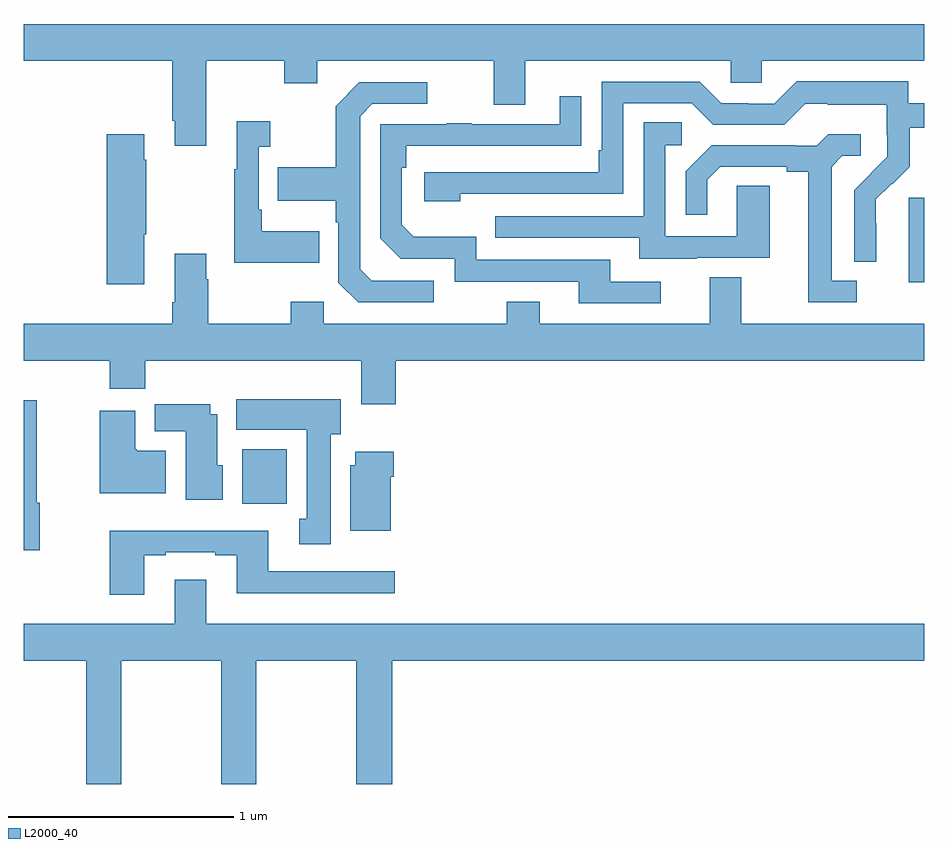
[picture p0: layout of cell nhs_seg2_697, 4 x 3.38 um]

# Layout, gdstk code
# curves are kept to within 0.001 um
import gdstk
lib = gdstk.Library(unit=1e-6, precision=1e-09)
def R(c, l, rs):  # rectangles x0, y0, x1, y1
    for r in rs: c.add(gdstk.rectangle(r[:2], r[2:], *l))
def P(c, l, *ps):  # polygons
    for p in ps: c.add(gdstk.Polygon(p, *l))
L2000_40 = (2000, 40)

nhs_seg2_697 = lib.new_cell('nhs_seg2_697')
R(nhs_seg2_697, L2000_40, [(147.971,603.044,148.168,603.286), (150.932,604.028,151,604.405)])
P(nhs_seg2_697, L2000_40, [(147.811,605.012),(148.156,605.012),(148.156,604.913),(148.303,604.913),(148.303,605.012),(149.087,605.012),(149.087,604.818),(149.227,604.818),(149.227,605.012),(150.141,605.012),(150.141,604.914),(150.279,604.914),(150.279,605.012),(151,605.012),(151,605.176),(147,605.176),(147,605.012),(147.659,605.012),(147.659,604.747),(147.671,604.747),(147.671,604.635),(147.811,604.635)],
  [(150.787,604.292),(150.785,604.292),(150.785,604.397),(150.855,604.467),(150.858,604.464),(150.935,604.541),(150.935,604.716),(151,604.716),(151,604.824),(150.93,604.824),(150.93,604.921),(150.433,604.921),(150.333,604.821),(150.218,604.821),(150.218,604.824),(150.099,604.824),(150.003,604.92),(149.568,604.92),(149.568,604.615),(149.555,604.615),(149.555,604.518),(148.779,604.518),(148.779,604.388),(148.94,604.388),(148.94,604.422),(149.664,604.422),(149.664,604.824),(149.967,604.824),(150.063,604.728),(150.378,604.728),(150.471,604.821),(150.571,604.821),(150.571,604.817),(150.834,604.817),(150.834,604.683),(150.836,604.683),(150.836,604.586),(150.69,604.438),(150.69,604.12),(150.787,604.12)],
  [(148.822,604.035),(148.545,604.035),(148.494,604.086),(148.494,604.767),(148.548,604.821),(148.792,604.821),(148.792,604.917),(148.491,604.917),(148.386,604.811),(148.386,604.539),(148.129,604.539),(148.129,604.391),(148.386,604.391),(148.386,604.295),(148.398,604.295),(148.398,604.026),(148.485,603.939),(148.822,603.939)],
  [(149.83,604.032),(149.605,604.032),(149.605,604.128),(149.01,604.128),(149.01,604.231),(148.733,604.231),(148.68,604.284),(148.68,604.538),(148.7,604.538),(148.7,604.635),(149.477,604.636),(149.477,604.855),(149.381,604.855),(149.381,604.731),(148.991,604.731),(148.991,604.736),(148.879,604.736),(148.879,604.731),(148.584,604.731),(148.584,604.224),(148.674,604.134),(148.914,604.134),(148.914,604.032),(149.465,604.032),(149.465,603.936),(149.83,603.936)],
  [(148.313,604.255),(148.057,604.255),(148.057,604.351),(148.044,604.351),(148.044,604.631),(148.096,604.631),(148.096,604.744),(147.947,604.744),(147.947,604.531),(147.936,604.531),(147.936,604.115),(148.313,604.115)],
  [(149.989,604.137),(150.313,604.137),(150.313,604.457),(150.168,604.457),(150.168,604.233),(149.85,604.233),(149.85,604.638),(149.923,604.638),(149.923,604.739),(149.754,604.739),(149.754,604.323),(149.095,604.323),(149.095,604.227),(149.735,604.227),(149.735,604.133),(149.989,604.133)],
  [(147.535,604.243),(147.543,604.243),(147.543,604.574),(147.535,604.574),(147.535,604.687),(147.368,604.687),(147.368,604.02),(147.535,604.02)],
  [(150.7,604.035),(150.589,604.035),(150.589,604.543),(150.636,604.59),(150.718,604.59),(150.718,604.687),(150.574,604.687),(150.522,604.635),(150.428,604.635),(150.428,604.638),(150.056,604.638),(149.94,604.522),(149.94,604.329),(150.037,604.329),(150.037,604.485),(150.094,604.542),(150.389,604.542),(150.389,604.52),(150.485,604.52),(150.485,603.939),(150.7,603.939)],
  [(148.652,603.68),(151,603.68),(151,603.844),(150.187,603.844),(150.187,604.052),(150.047,604.052),(150.047,603.844),(149.293,603.844),(149.293,603.943),(149.146,603.943),(149.146,603.844),(148.332,603.844),(148.332,603.943),(148.186,603.943),(148.186,603.844),(147.819,603.844),(147.819,604.043),(147.811,604.043),(147.811,604.156),(147.671,604.156),(147.671,603.94),(147.659,603.94),(147.659,603.844),(147,603.844),(147,603.68),(147.383,603.68),(147.383,603.556),(147.539,603.556),(147.539,603.68),(148.499,603.68),(148.499,603.486),(148.652,603.486)],
  [(148.363,603.354),(148.408,603.354),(148.408,603.508),(147.944,603.508),(147.944,603.374),(148.256,603.374),(148.256,602.978),(148.223,602.978),(148.223,602.865),(148.363,602.865)],
  [(147.071,603.05),(147.058,603.05),(147.058,603.505),(147,603.505),(147,602.838),(147.071,602.838)],
  [(147.883,603.216),(147.859,603.216),(147.859,603.442),(147.829,603.442),(147.829,603.486),(147.581,603.486),(147.581,603.368),(147.719,603.368),(147.719,603.062),(147.883,603.062)],
  [(147.631,603.28),(147.502,603.28),(147.502,603.286),(147.496,603.286),(147.496,603.457),(147.338,603.457),(147.338,603.092),(147.631,603.092)],
  [(148.63,603.164),(148.643,603.164),(148.643,603.277),(148.472,603.277),(148.472,603.216),(148.451,603.216),(148.451,602.924),(148.63,602.924)],
  [(147.535,602.817),(147.631,602.817),(147.631,602.829),(147.851,602.829),(147.851,602.817),(147.947,602.817),(147.947,602.648),(148.648,602.648),(148.648,602.745),(148.087,602.745),(148.087,602.926),(147.383,602.926),(147.383,602.64),(147.535,602.64)],
  [(147.432,602.348),(147.877,602.348),(147.877,601.8),(148.032,601.8),(148.032,602.348),(148.477,602.348),(148.477,601.8),(148.637,601.8),(148.637,602.348),(151,602.348),(151,602.512),(147.811,602.512),(147.811,602.707),(147.671,602.707),(147.671,602.512),(147,602.512),(147,602.348),(147.277,602.348),(147.277,601.8),(147.432,601.8)])

lib.write_gds('nhs_seg2_697.gds')
